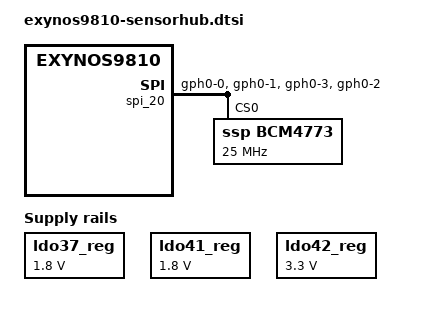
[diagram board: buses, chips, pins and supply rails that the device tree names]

&pinctrl_2 {
	sensorhub_mosi_sck_ssn: sensorhub_mosi_sck_ssn {
		samsung,pins = "gph0-0", "gph0-1", "gph0-3";
		samsung,pin-function = <2>;
		samsung,pin-pud = <0>;
		samsung,pin-drv = <3>;
	};
	sensorhub_miso: sensorhub_miso {
		samsung,pins = "gph0-2";
		samsung,pin-function = <2>;
		samsung,pin-pud = <1>;
		samsung,pin-drv = <3>;
	};
	ssp_mcu_resp: ssp-mcu-resp {
		samsung,pins = "gph0-4";
		samsung,pin-function = <0>;
		samsung,pin-pud = <0>;
		samsung,pin-drv = <3>;
		samsung,pin-con-pdn = <0>;
		samsung,pin-pud-pdn = <0>;
	};
	ssp_mcu_req: ssp-mcu-req {
		samsung,pins = "gph0-5";
		samsung,pin-function = <1>;
		samsung,pin-pud = <0>;
		samsung,pin-drv = <3>;
		samsung,pin-con-pdn = <1>;
		samsung,pin-pud-pdn = <0>;
	};
};

&pinctrl_0 {
	ssp_batch_wake_irq: ssp-batch-wake-irq {
		samsung,pins = "gpa0-5";
		samsung,pin-function = <1>;
		samsung,pin-pud = <0>;
		samsung,pin-con-pdn = <1>;
		samsung,pin-pud-pdn = <0>;
	};
	ssp_host_req: ssp-host-req {
		samsung,pins = "gpa1-7";
		samsung,pin-function = <0xf>;
		samsung,pin-pud = <1>;
		samsung,pin-drv = <3>;
	};
	ssp_shub_int: ssp-shub-int {
		samsung,pins = "gpa4-0";
		samsung,pin-function = <0xf>;
		samsung,pin-pud = <1>;
		samsung,pin-drv = <3>;
	};
};

&pinctrl_6 {
	ssp_gps_pwr_en: ssp-gps-pwr-en {
		samsung,pins = "gpg0-2";
		samsung,pin-function = <1>;
		samsung,pin-pud = <1>;
		samsung,pin-drv = <3>;
		samsung,pin-con-pdn = <3>;
		samsung,pin-pud-pdn = <0>;
	};
};

&spi_20 {
	#address-cells = <1>;
	#size-cells = <0>;

	pinctrl-names = "default";
	pinctrl-0 = <&sensorhub_mosi_sck_ssn &sensorhub_miso>;

	num-cs = <1>;
	status = "okay";
/*
 *	dma-mode;
 *	dmas = <&pdma0 21 0
 *		&pdma0 20 0>;
 */
	BCM4773@0 {
		compatible = "ssp,BCM4773";
		reg = <0>;
		/* spi-max-frequency = <26000000>; */
		spi-max-frequency = <25000000>;
		spi-cpol;
		spi-cpha;
		pinctrl-names = "default";
		pinctrl-0 = <&ssp_host_req &ssp_mcu_req &ssp_mcu_resp &ssp_batch_wake_irq &ssp_shub_int &ssp_gps_pwr_en>;

		gpio-controller;
		#gpio-cells = <2>;
		ssp-gps-pwr-en = <&gpg0 2 0x0>;
		ssp-host-req = <&gpa1 7 0x00>;
		ssp-mcu-req = <&gph0 5 0x00>;
		ssp-mcu-resp = <&gph0 4 0x00>;
		ssp-batch-wake-irq = <&gpa0 5 0x00>;
		ssp-shub-int = <&gpa4 0 0x00>;
		ssp-acc-position = <7>;
		ssp-mag-position = <7>;
		ssp-sns-combination = <0>;
		ssp-ap-rev = <1>;
		ssp-mag-array = /bits/ 8 <42 78 8 158 4 5 253 165 213 52 75 81 128 132 2 106 253 165 254 109
					193 248 128 167 10 181 28>;
		ssp-thermi-up = /bits/ 16 <3033 3003 2968 2922 2865 2794 2704 2614 2503 2382 2243 2090 1935
					1770 1612 1454 1301 1157 1020 899 800 691 611>;
		ssp-thermi-sub = /bits/ 16 <3033 3003 2968 2922 2865 2794 2704 2614 2503 2382 2243 2090 1935
					1770 1612 1454 1301 1157 1020 899 800 691 611>;
		ssp-glass-type = <0>;
		ssp-mag-type = <1>;
		ssp-vdd-mcu-1p8 = "vdd_mcu_1p8";

		controller-data {
			cs-gpio = <&gph0 3 0>;
			samsung,spi-feedback-delay = <0>;
		};
	};
};

&ldo37_reg {
		regulator-name = "vdd_mcu_1p8";
		regulator-min-microvolt = <1800000>;
		regulator-max-microvolt = <1800000>;
		regulator-ramp-delay = <12000>;
		regulator-initial-mode = <3>;
};

&ldo41_reg {
		regulator-name = "vdd_shub_aon_1p8";
		regulator-min-microvolt = <1800000>;
		regulator-max-microvolt = <1800000>;
		regulator-always-on;
		regulator-initial-mode = <3>;
};

&ldo42_reg {
		regulator-name = "vdd_proxy_lde_3p3";
		regulator-min-microvolt = <3300000>;
		regulator-max-microvolt = <3300000>;
		regulator-always-on;
		regulator-initial-mode = <3>;

};

